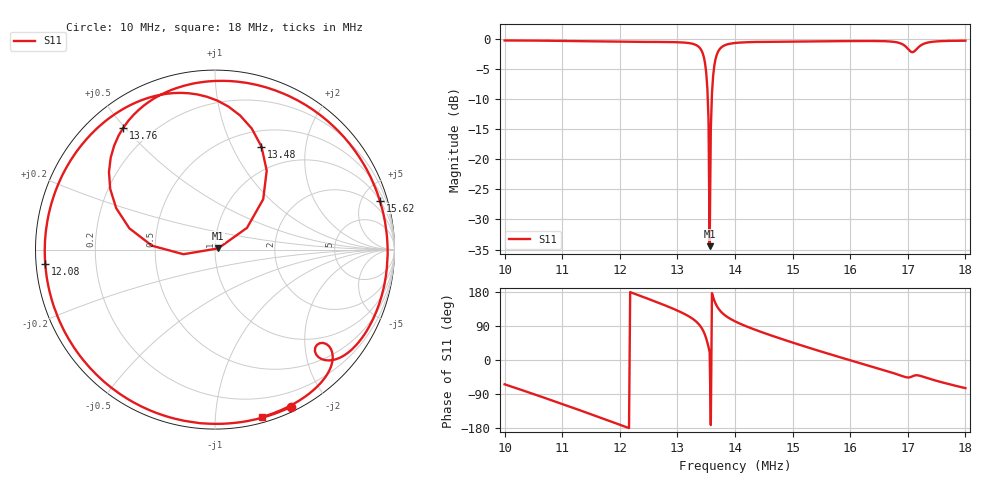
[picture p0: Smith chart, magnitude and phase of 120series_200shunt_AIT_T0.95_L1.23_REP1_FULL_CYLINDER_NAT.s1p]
! NanoVNA Web complex sweep
! Processing: original sample grid, no browser smoothing
# Hz S RI R 50
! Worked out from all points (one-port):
!   401 points, 10 MHz to 18 MHz, reference 50 ohm
!   lowest |S11| = -34.4 dB at 13.56 MHz (marker M1), VSWR 1.04, Z = 51.8 + j0.699 ohm
!   |S11| at or under -10 dB: 13.53 MHz to 13.6 MHz (69.89 kHz wide, 0.515 % of centre)
!   S11 on the Smith chart (normalised r, x): 10 MHz: 0.05, -1.60; 12.08 MHz: 0.03, -0.04; 13.48 MHz: 0.69, +1.31; 13.76 MHz: 0.10, +0.50; 15.62 MHz: 1.01, +6.73; 18 MHz: 0.04, -1.32
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1e7  0.425 -0.8756
1.052e7  -0.0131 -0.9706
1.1e7  -0.425 -0.8664
1.152e7  -0.7766 -0.5584
1.2e7  -0.9379 -0.1515
1.208e7  -0.9459 -0.078
1.256e7  -0.8742 0.3624
1.3e7  -0.6103 0.7162
1.334e7  -0.1454 0.871
1.342e7  0.0751 0.7968
1.348e7  0.259 0.5739
1.35e7  0.2881 0.4404
1.352e7  0.2686 0.2807
1.356e7  0.0177 0.00675
1.36e7  -0.3511 0.0216
1.362e7  -0.4769 0.1183
1.364e7  -0.5505 0.2308
1.376e7  -0.5105 0.6798
1.4e7  -0.1931 0.9067
1.444e7  0.2483 0.9136
1.5e7  0.6618 0.6852
1.562e7  0.9185 0.2728
1.6e7  0.9614 -0.00972
1.66e7  0.8521 -0.4413
1.7e7  0.5769 -0.5998
1.712e7  0.6018 -0.5198
1.73e7  0.6426 -0.6609
1.8e7  0.2625 -0.9324
